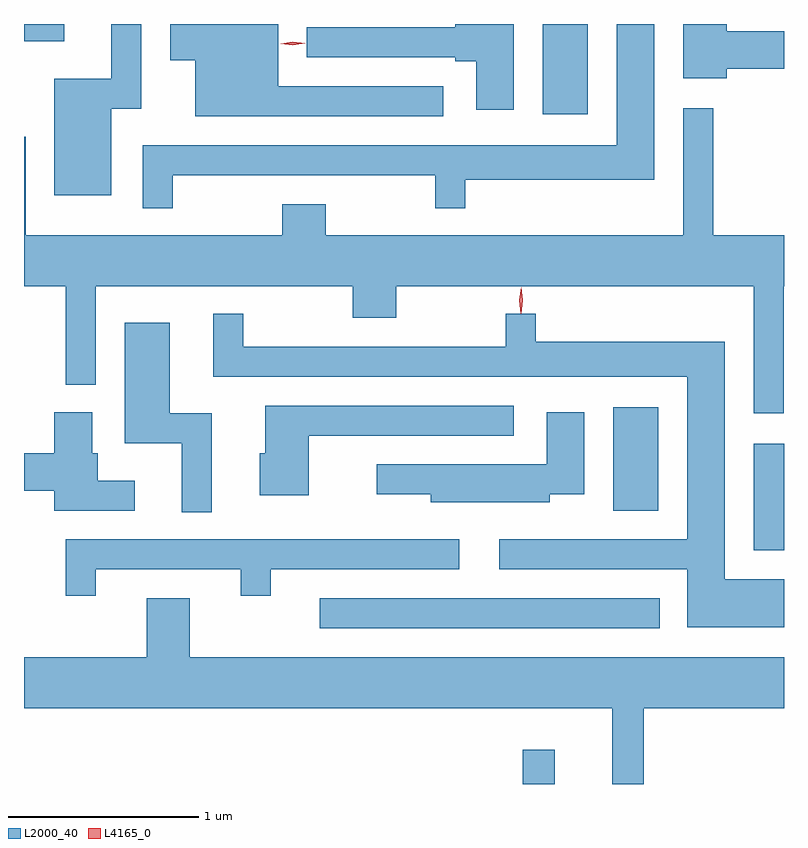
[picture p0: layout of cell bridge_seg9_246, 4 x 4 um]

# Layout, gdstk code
import gdstk
lib = gdstk.Library(unit=1e-6, precision=1e-09)
def R(c, l, rs):  # rectangles x0, y0, x1, y1
    for r in rs: c.add(gdstk.rectangle(r[:2], r[2:], *l))
def P(c, l, *ps):  # polygons
    for p in ps: c.add(gdstk.Polygon(p, *l))
L2000_40 = (2000, 40)
L4165_0 = (4165, 0)

bridge_seg9_246 = lib.new_cell('bridge_seg9_246')
R(bridge_seg9_246, L2000_40, [(1285.581,1947.017,1285.749,1947.198), (1284.513,1947.836,1286.303,1947.994), (1286.796,1948.246,1286.956,1948.809), (1286.056,1948.456,1286.294,1948.999), (1285.686,1950.541,1285.924,1951.017), (1282.956,1950.926,1283.168,1951.017)])
P(bridge_seg9_246, L2000_40, [(1283.414,1950.571),(1283.574,1950.571),(1283.574,1951.017),(1283.416,1951.017),(1283.416,1950.729),(1283.116,1950.729),(1283.116,1950.116),(1283.414,1950.116)],
  [(1285.163,1950.689),(1284.294,1950.689),(1284.294,1951.017),(1283.726,1951.017),(1283.726,1950.826),(1283.856,1950.826),(1283.856,1950.531),(1285.163,1950.531)],
  [(1285.534,1951.017),(1285.226,1951.017),(1285.226,1950.999),(1284.443,1950.999),(1284.443,1950.841),(1285.226,1950.841),(1285.226,1950.821),(1285.336,1950.821),(1285.336,1950.566),(1285.534,1950.566)],
  [(1283.739,1950.221),(1285.121,1950.221),(1285.121,1950.048),(1285.279,1950.048),(1285.279,1950.196),(1286.274,1950.196),(1286.274,1951.017),(1286.076,1951.017),(1286.076,1950.379),(1283.581,1950.379),(1283.581,1950.048),(1283.739,1950.048)],
  [(1286.654,1950.781),(1286.956,1950.781),(1286.956,1950.979),(1286.654,1950.979),(1286.654,1951.017),(1286.426,1951.017),(1286.426,1950.731),(1286.654,1950.731)],
  [(1286.954,1949.636),(1286.956,1949.636),(1286.956,1949.904),(1286.584,1949.904),(1286.584,1950.573),(1286.426,1950.573),(1286.426,1949.904),(1284.544,1949.904),(1284.544,1950.069),(1284.316,1950.069),(1284.316,1949.904),(1282.964,1949.904),(1282.964,1950.423),(1282.956,1950.423),(1282.956,1949.636),(1283.176,1949.636),(1283.176,1949.118),(1283.334,1949.118),(1283.334,1949.636),(1284.686,1949.636),(1284.686,1949.471),(1284.914,1949.471),(1284.914,1949.636),(1286.796,1949.636),(1286.796,1948.968),(1286.954,1948.968)],
  [(1286.956,1948.094),(1286.644,1948.094),(1286.644,1949.344),(1285.649,1949.344),(1285.649,1949.493),(1285.491,1949.493),(1285.491,1949.319),(1284.109,1949.319),(1284.109,1949.493),(1283.951,1949.493),(1283.951,1949.161),(1286.446,1949.161),(1286.446,1948.304),(1285.458,1948.304),(1285.458,1948.146),(1286.446,1948.146),(1286.446,1947.841),(1286.956,1947.841)],
  [(1283.944,1948.969),(1283.724,1948.969),(1283.724,1949.444),(1283.486,1949.444),(1283.486,1948.811),(1283.786,1948.811),(1283.786,1948.448),(1283.944,1948.448)],
  [(1284.454,1948.851),(1285.533,1948.851),(1285.533,1949.009),(1284.226,1949.009),(1284.226,1948.759),(1284.196,1948.759),(1284.196,1948.536),(1284.454,1948.536)],
  [(1285.724,1948.541),(1285.904,1948.541),(1285.904,1948.974),(1285.706,1948.974),(1285.706,1948.699),(1284.813,1948.699),(1284.813,1948.541),(1285.096,1948.541),(1285.096,1948.501),(1285.724,1948.501)],
  [(1283.538,1948.614),(1283.344,1948.614),(1283.344,1948.759),(1283.314,1948.759),(1283.314,1948.974),(1283.116,1948.974),(1283.116,1948.759),(1282.956,1948.759),(1282.956,1948.561),(1283.116,1948.561),(1283.116,1948.456),(1283.538,1948.456)],
  [(1283.334,1948.146),(1284.096,1948.146),(1284.096,1948.008),(1284.254,1948.008),(1284.254,1948.146),(1285.248,1948.146),(1285.248,1948.304),(1283.176,1948.304),(1283.176,1948.008),(1283.334,1948.008)],
  [(1286.219,1947.416),(1286.956,1947.416),(1286.956,1947.684),(1283.829,1947.684),(1283.829,1947.994),(1283.601,1947.994),(1283.601,1947.684),(1282.956,1947.684),(1282.956,1947.416),(1286.051,1947.416),(1286.051,1947.017),(1286.219,1947.017)])
P(bridge_seg9_246, L4165_0, [(1284.371,1950.904),(1284.306,1950.912),(1284.305,1950.913),(1284.306,1950.914),(1284.371,1950.924),(1284.437,1950.916),(1284.437,1950.915),(1284.437,1950.915)],
  [(1285.571,1949.493),(1285.562,1949.562),(1285.572,1949.631),(1285.572,1949.631),(1285.573,1949.631),(1285.582,1949.562),(1285.572,1949.493),(1285.572,1949.493)])

lib.write_gds('bridge_seg9_246.gds')
